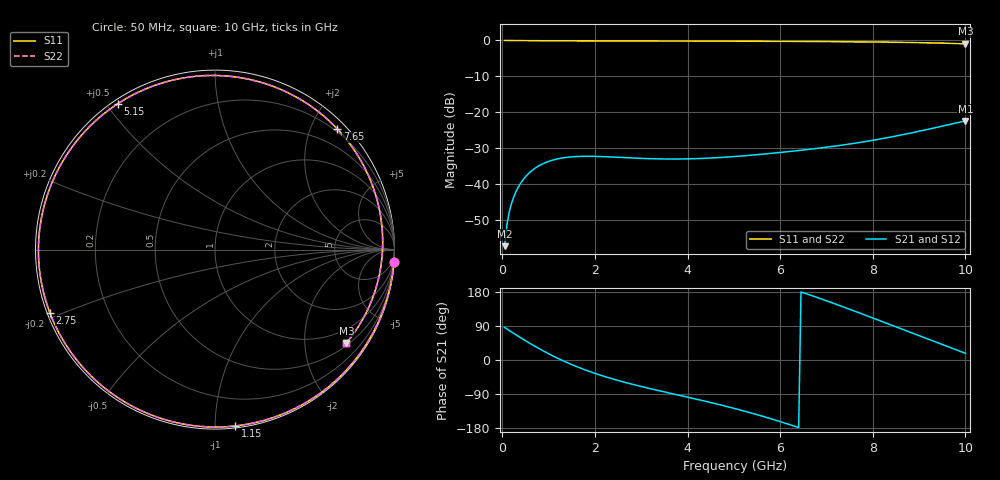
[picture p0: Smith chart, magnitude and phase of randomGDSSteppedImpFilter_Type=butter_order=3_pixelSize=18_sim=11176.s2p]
! freq	dB(S11)	phase(S11)	dB(S12)	phase(S12)
!  dB(S21)	phase(S21)	dB(S22)	phase(S22)
!S-par simulation data
#  GHz  S  DB  R 50
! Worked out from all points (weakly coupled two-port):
!   200 points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, 50 MHz to 10 GHz, reference 50 ohm
!   highest |S21| = -22.35 dB at 10 GHz (marker M1); lowest = -57.1 dB at 50 MHz (marker M2)
!   lowest |S11| = -0.9 dB at 10 GHz (marker M3), VSWR 18.57, Z = 28.4 - j152 ohm
!   |S11| at or under -10 dB: nowhere
!   |S22| runs from -0.9 to 0.0 dB; largest |S21 - S12| = 0
!   S11 on the Smith chart (normalised r, x): 50 MHz: 0, -28; 1.15 GHz: 0.01, -1.12; 2.75 GHz: 0.01, -0.18; 5.15 GHz: 0.02, +0.54; 7.65 GHz: 0.15, +2.43; 10 GHz: 0.57, -3.04
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0.05  -0.00 -4.0  -57.14 85.9  -57.14 85.9  -0.00 -4.0
0.1  -0.01 -8.0  -51.15 81.8  -51.15 81.8  -0.01 -8.0
0.15  -0.02 -12.0  -47.67 77.8  -47.67 77.8  -0.02 -12.0
0.25  -0.03 -19.8  -43.37 69.9  -43.37 69.9  -0.03 -19.8
0.35  -0.04 -27.6  -40.63 62.2  -40.63 62.2  -0.04 -27.6
0.55  -0.06 -42.7  -37.18 47.3  -37.18 47.3  -0.06 -42.7
0.75  -0.07 -57.1  -35.12 33.0  -35.12 33.0  -0.07 -57.1
1.15  -0.09 -83.4  -33.02 7.3  -33.02 7.3  -0.09 -83.4
1.45  -0.11 -100.9  -32.39 -9.5  -32.39 -9.5  -0.10 -100.9
1.75  -0.11 -116.5  -32.18 -24.3  -32.18 -24.3  -0.11 -116.5
2.25  -0.12 -139.4  -32.30 -45.1  -32.30 -45.1  -0.12 -139.3
2.75  -0.13 -159.2  -32.61 -62.3  -32.61 -62.3  -0.13 -159.1
3.4  -0.14 178.0  -32.90 -81.4  -32.90 -81.4  -0.14 178.1
4.2  -0.17 152.5  -32.82 -103.6  -32.82 -103.6  -0.17 152.6
5.05  -0.20 126.6  -32.21 -129.0  -32.21 -129.0  -0.20 126.7
5.15  -0.20 123.6  -32.11 -132.3  -32.11 -132.3  -0.20 123.7
5.95  -0.25 99.1  -31.18 -160.6  -31.18 -160.6  -0.25 99.3
6.7  -0.29 75.5  -30.13 169.2  -30.13 169.2  -0.29 75.7
7.65  -0.38 44.5  -28.47 127.1  -28.47 127.1  -0.38 44.7
8.35  -0.48 21.1  -26.92 94.6  -26.92 94.6  -0.48 21.2
9.15  -0.64 -6.2  -24.80 57.3  -24.80 57.3  -0.65 -6.1
10  -0.94 -35.4  -22.35 17.7  -22.35 17.7  -0.94 -35.3
